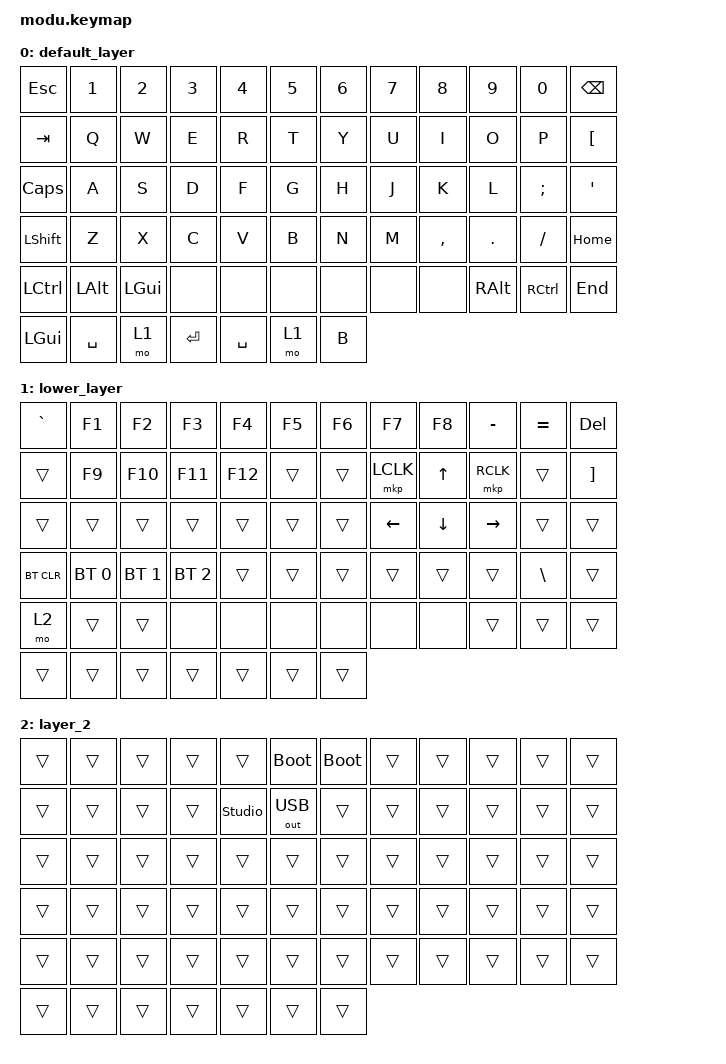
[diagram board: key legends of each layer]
/*
 * Copyright (c) 2026 EKS Inc.
 * Created by Ryu.
 * SPDX-License-Identifier: LicenseRef-EKS-NonCommercial-1.0
 *
 * Unofficial modification, based on upstream commit
 * bee0bb4b812f63f279eb67e928accc89600b5904 and customized through
 * Keymap Editor for GitHub Actions builds.
 */

#include <behaviors.dtsi>
#include <dt-bindings/zmk/bt.h>
#include <dt-bindings/zmk/keys.h>
#include <dt-bindings/zmk/pointing.h>
#include <dt-bindings/zmk/outputs.h>
#include "modu-layouts.dtsi"

/ {
    combos {
        compatible = "zmk,combos";

        reset {
            bindings = <&sys_reset>;
            key-positions = <48 5 6>;
            layers = <1>;
        };
    };

    keymap {
        compatible = "zmk,keymap";

        default_layer {
            // -----------------------------------------------------------------
            // |ESC | 1  | 2  | 3  | 4  | 5  |   | 6  | 7  | 8  | 9  | 0  |DEL |
            // |TAB | Q  | W  | E  | R  | T  |   | Y  | U  | I  | O  | P  |HOME|
            // |CAPS| A  | S  | D  | F  | G  |   | H  | J  | K  | L  | ;  |PGUP|
            // |LSFT| Z  | X  | C  | V  | B  |   | N  | M  | ,  | .  | /  |PGDN|
            // |LCTL|LALT|LGUI|                                 |RALT|RCTL|END |
            //                |LANG|SPC |MO1 |   |BSPC|RET |MO1 | B  |

            bindings = <
                &kp ESC      &kp N1       &kp N2       &kp N3       &kp N4       &kp N5       &kp N6       &kp N7       &kp N8       &kp N9       &kp N0       &kp BSPC    
                &kp TAB      &kp Q        &kp W        &kp E        &kp R        &kp T        &kp Y        &kp U        &kp I        &kp O        &kp P        &kp LBKT    
                &kp CAPS     &kp A        &kp S        &kp D        &kp F        &kp G        &kp H        &kp J        &kp K        &kp L        &kp SEMI     &kp SQT     
                &kp LSHFT    &kp Z        &kp X        &kp C        &kp V        &kp B        &kp N        &kp M        &kp COMMA    &kp DOT      &kp FSLH     &kp HOME    
                &kp LCTRL    &kp LALT     &kp LGUI     &none        &none        &none        &none        &none        &none        &kp RALT     &kp RCTRL    &kp END     
                &kp LGUI     &kp SPACE    &mo 1        &kp RET      &kp SPACE    &mo 1        &kp B       
            >;
        };

        lower_layer {
            bindings = <
                &kp GRAVE    &kp F1       &kp F2       &kp F3       &kp F4       &kp F5       &kp F6       &kp F7       &kp F8       &kp MINUS    &kp EQUAL    &kp DEL     
                &trans       &kp F9       &kp F10      &kp F11      &kp F12      &trans       &trans       &mkp LCLK    &kp UP       &mkp RCLK    &trans       &kp RBKT    
                &trans       &trans       &trans       &trans       &trans       &trans       &trans       &kp LEFT     &kp DOWN     &kp RIGHT    &trans       &trans      
                &bt BT_CLR   &bt BT_SEL 0 &bt BT_SEL 1 &bt BT_SEL 2 &trans       &trans       &trans       &trans       &trans       &trans       &kp BSLH     &trans      
                &mo 2       &trans       &trans       &none        &none        &none        &none        &none        &none        &trans       &trans       &trans      
                &trans       &trans       &trans       &trans       &trans       &trans       &trans      
            >;
        };

        layer_2 {
            // Hold layer 1, then the left Ctrl position (&mo 2).
            // R: Studio unlock; T: USB output. Existing 5/6 bootloader keys remain.
            bindings = <
&trans  &trans  &trans  &trans  &trans  &bootloader  &bootloader  &trans  &trans  &trans  &trans  &trans
&trans  &trans  &trans  &trans  &studio_unlock  &out OUT_USB  &trans  &trans  &trans  &trans  &trans  &trans
&trans  &trans  &trans  &trans  &trans  &trans       &trans       &trans  &trans  &trans  &trans  &trans
&trans  &trans  &trans  &trans  &trans  &trans       &trans       &trans  &trans  &trans  &trans  &trans
&trans  &trans  &trans  &trans  &trans  &trans       &trans       &trans  &trans  &trans  &trans  &trans
&trans  &trans  &trans                               &trans       &trans  &trans  &trans
            >;
        };
    };
};
